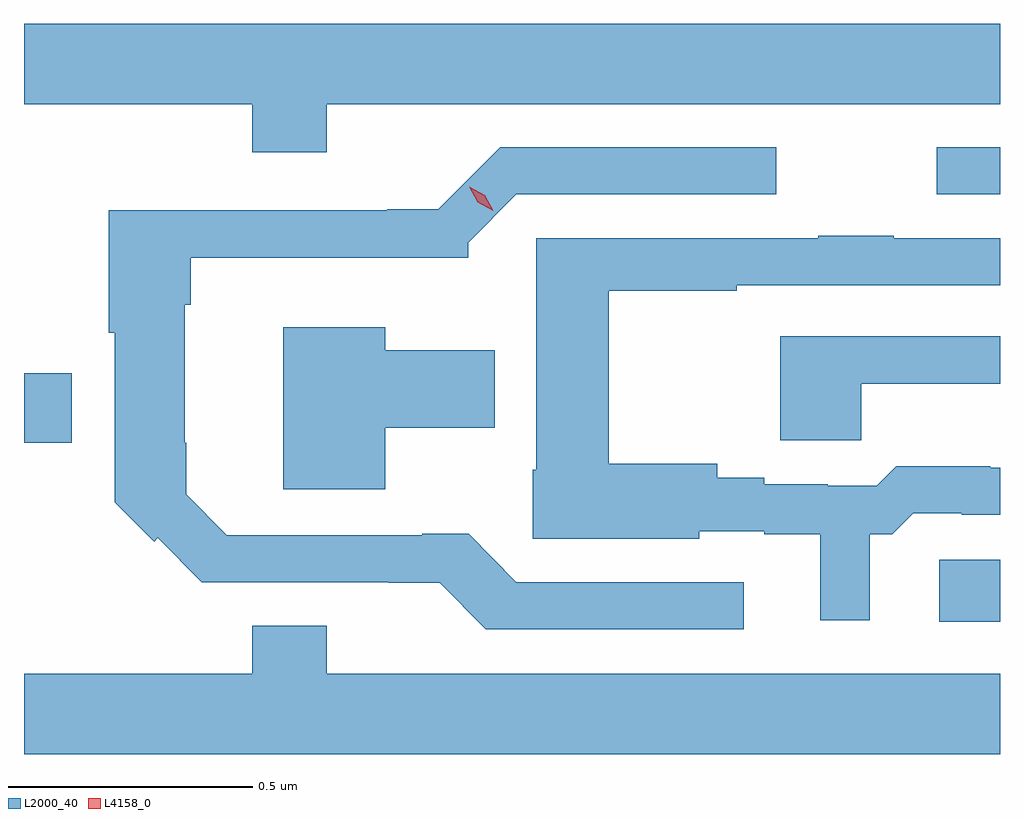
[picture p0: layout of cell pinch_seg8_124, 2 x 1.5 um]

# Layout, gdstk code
import gdstk
lib = gdstk.Library(unit=1e-6, precision=1e-09)
def R(c, l, rs):  # rectangles x0, y0, x1, y1
    for r in rs: c.add(gdstk.rectangle(r[:2], r[2:], *l))
def P(c, l, *ps):  # polygons
    for p in ps: c.add(gdstk.Polygon(p, *l))
L2000_40 = (2000, 40)
L4158_0 = (4158, 0)

pinch_seg8_124 = lib.new_cell('pinch_seg8_124')
R(pinch_seg8_124, L2000_40, [(1033.533,1106.115,1033.657,1106.242), (1031.657,1106.482,1031.755,1106.624), (1033.527,1106.991,1033.657,1107.087)])
P(pinch_seg8_124, L2000_40, [(1032.277,1107.176),(1033.657,1107.176),(1033.657,1107.34),(1031.657,1107.34),(1031.657,1107.176),(1032.125,1107.176),(1032.125,1107.077),(1032.277,1107.077)],
  [(1033.132,1106.196),(1032.666,1106.196),(1032.568,1106.295),(1032.473,1106.295),(1032.473,1106.292),(1032.072,1106.292),(1031.989,1106.376),(1031.989,1106.482),(1031.986,1106.482),(1031.986,1106.765),(1031.999,1106.765),(1031.999,1106.861),(1032.567,1106.861),(1032.567,1106.892),(1032.666,1106.991),(1033.198,1106.991),(1033.198,1107.087),(1032.633,1107.087),(1032.506,1106.96),(1032.401,1106.96),(1032.401,1106.958),(1031.831,1106.958),(1031.831,1106.707),(1031.843,1106.707),(1031.843,1106.36),(1031.924,1106.279),(1031.931,1106.287),(1032.021,1106.196),(1032.404,1106.196),(1032.404,1106.195),(1032.509,1106.195),(1032.603,1106.1),(1033.132,1106.1)],
  [(1033.39,1106.294),(1033.436,1106.294),(1033.479,1106.337),(1033.579,1106.337),(1033.579,1106.334),(1033.657,1106.334),(1033.657,1106.431),(1033.637,1106.431),(1033.637,1106.434),(1033.444,1106.434),(1033.404,1106.394),(1033.304,1106.394),(1033.304,1106.397),(1033.174,1106.397),(1033.174,1106.41),(1033.078,1106.41),(1033.078,1106.439),(1032.855,1106.439),(1032.855,1106.793),(1033.118,1106.793),(1033.118,1106.805),(1033.657,1106.805),(1033.657,1106.901),(1033.439,1106.901),(1033.439,1106.906),(1033.285,1106.906),(1033.285,1106.901),(1032.707,1106.901),(1032.707,1106.427),(1032.7,1106.427),(1032.7,1106.285),(1033.041,1106.285),(1033.041,1106.301),(1033.174,1106.301),(1033.174,1106.294),(1033.289,1106.294),(1033.289,1106.118),(1033.39,1106.118)],
  [(1032.397,1106.513),(1032.622,1106.513),(1032.622,1106.671),(1032.397,1106.671),(1032.397,1106.719),(1032.188,1106.719),(1032.188,1106.387),(1032.397,1106.387)],
  [(1033.373,1106.603),(1033.657,1106.603),(1033.657,1106.7),(1033.207,1106.7),(1033.207,1106.487),(1033.373,1106.487)],
  [(1033.657,1106.008),(1032.277,1106.008),(1032.277,1106.107),(1032.125,1106.107),(1032.125,1106.008),(1031.657,1106.008),(1031.657,1105.844),(1033.657,1105.844)])
P(pinch_seg8_124, L4158_0, [(1032.619,1106.957),(1032.587,1106.975),(1032.569,1107.006),(1032.569,1107.006),(1032.569,1107.006),(1032.601,1106.989),(1032.619,1106.957),(1032.619,1106.957)])

lib.write_gds('pinch_seg8_124.gds')
